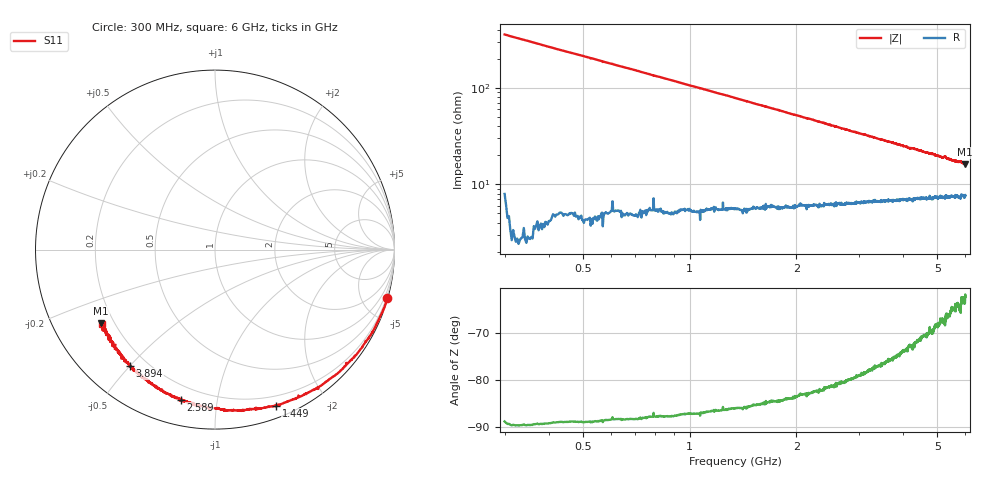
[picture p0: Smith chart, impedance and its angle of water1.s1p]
# GHZ S RI R 50.000000000000
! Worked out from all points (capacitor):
!   2001 points, 300 MHz to 6 GHz, reference 50 ohm
!   read as one part to ground: C = 1.48 pF near 328.5 MHz
!   lowest |Z| = 16.3 ohm at 5.989 GHz (marker M1)
!   S11 on the Smith chart (normalised r, x): 300 MHz: 0.16, -7.20; 1.449 GHz: 0.11, -1.46; 2.589 GHz: 0.13, -0.79; 3.894 GHz: 0.14, -0.50; 6 GHz: 0.15, -0.29
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0.3  0.9563 -0.2709
0.5052  0.8873 -0.4415
0.6648  0.8108 -0.5548
0.8586  0.7036 -0.6707
1.0125  0.6069 -0.7464
1.2006  0.4895 -0.8123
1.44855  0.3401 -0.8696
1.725  0.1791 -0.8914
2.1126  -0.0128 -0.8838
2.4375  -0.1449 -0.8533
2.58855  -0.1918 -0.8352
2.865  -0.2801 -0.7964
3.15  -0.342 -0.7576
3.4179  -0.3999 -0.7136
3.8625  -0.4684 -0.6523
3.89385  -0.4724 -0.6488
4.16745  -0.5098 -0.6029
4.575  -0.5463 -0.5549
4.85145  -0.5671 -0.5341
5.15355  -0.5936 -0.4906
5.2419  -0.5856 -0.4922
5.2875  -0.5865 -0.4804
5.51265  -0.6116 -0.4509
5.70075  -0.6199 -0.4334
5.79765  -0.6223 -0.4463
5.8917  -0.6252 -0.4198
5.9886  -0.6348 -0.4082
6  -0.6274 -0.4151
